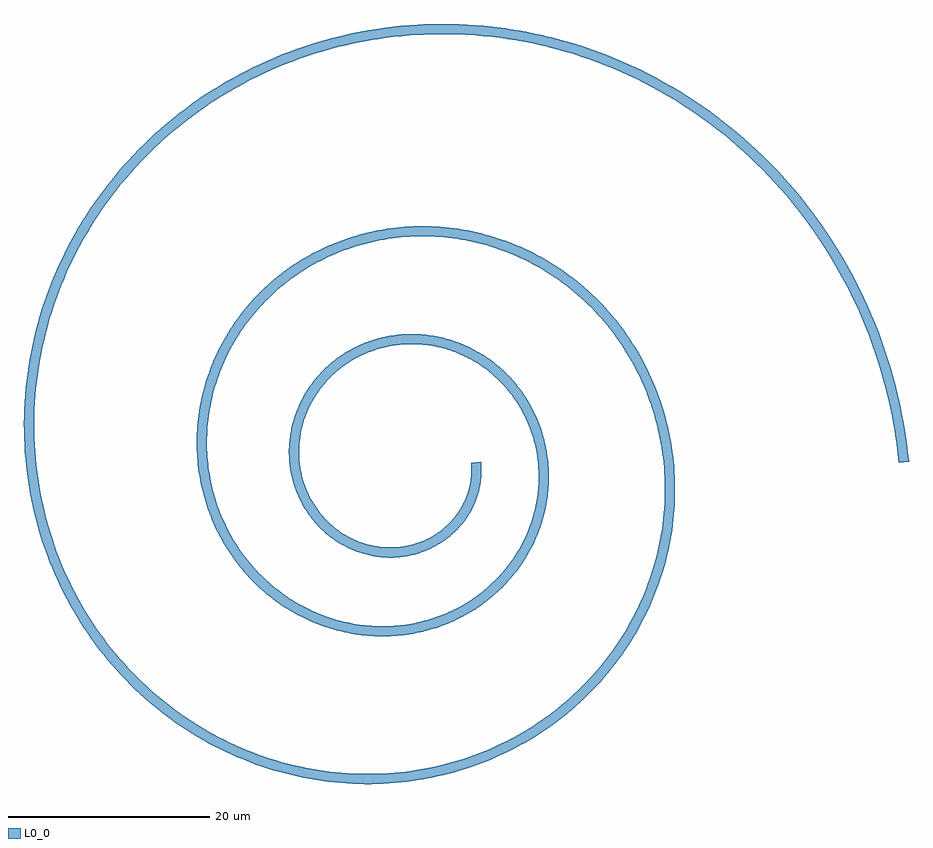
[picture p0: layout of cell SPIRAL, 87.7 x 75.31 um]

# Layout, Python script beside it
import gdspy
import numpy as np

# Create a new library
lib = gdspy.GdsLibrary()

# Create a new cell
cell = lib.new_cell('SPIRAL')

# Define the parametric equations for the spiral
def spiral_x(t):
    return np.exp(-0.1 * t) * np.cos(t)

def spiral_y(t):
    return np.exp(-0.1 * t) * np.sin(t)

# Generate points along the spiral
t = np.linspace(0, 6 * np.pi, 1000)
x = spiral_x(t)
y = spiral_y(t)

# Scale the spiral to a reasonable size (e.g., 100 units wide)
scale_factor = 50 / np.max(np.abs(x))
x *= scale_factor
y *= scale_factor

# Create a polygon path for the spiral
points = np.column_stack((x, y))
spiral = gdspy.FlexPath(points, 1, layer=0)

# Add the spiral to the cell
cell.add(spiral)

# Save the design to a GDS file
lib.write_gds('parametric_spiral.gds')

print("GDS file 'parametric_spiral.gds' has been generated.")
